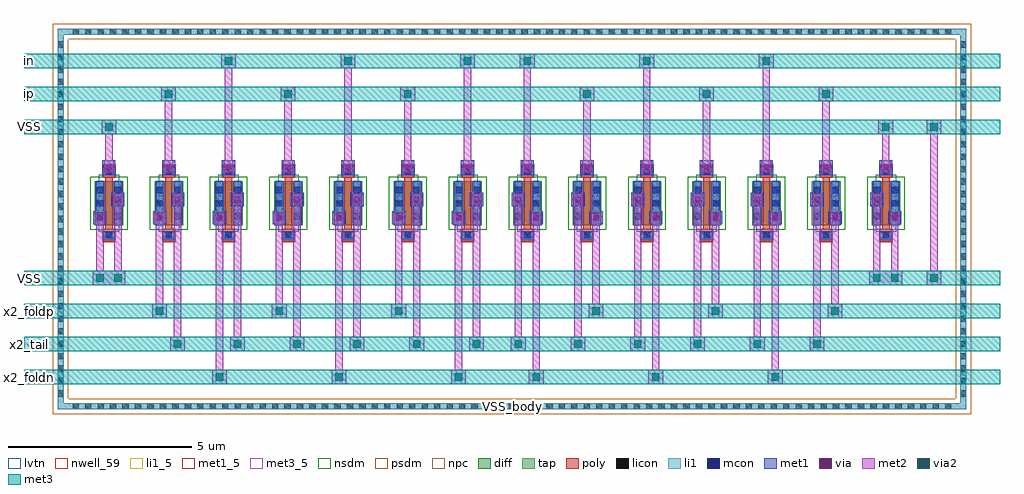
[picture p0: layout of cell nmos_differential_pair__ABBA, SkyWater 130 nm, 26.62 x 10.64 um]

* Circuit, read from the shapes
.subckt nmos_differential_pair__ABBA VSS VSS_body in ip x2_foldn x2_foldp x2_tail
XM1 VSS VSS VSS VSS_body sky130_fd_pr__nfet_01v8_lvt w=1.2 l=0.2 m=2
XM2 x2_tail ip x2_foldp VSS_body sky130_fd_pr__nfet_01v8_lvt w=1.2 l=0.2 m=6
XM3 x2_tail in x2_foldn VSS_body sky130_fd_pr__nfet_01v8_lvt w=1.2 l=0.2 m=6
.ends

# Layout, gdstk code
from math import pi, radians
import gdstk
lib = gdstk.Library(unit=1e-6, precision=1e-09)
def R(c, l, rs):  # rectangles x0, y0, x1, y1
    for r in rs: c.add(gdstk.rectangle(r[:2], r[2:], *l))
def A(c, l, x, y, w, h, nx, ny, dx, dy):  # array of equal rectangles
    R(c, l, [(x+i*dx, y+j*dy, x+i*dx+w, y+j*dy+h) for i in range(nx) for j in range(ny)])
nwell_59 = (64, 59)
diff = (65, 20)
tap = (65, 44)
poly = (66, 20)
licon = (66, 44)
li1_5 = (67, 5)
li1 = (67, 20)
mcon = (67, 44)
met1_5 = (68, 5)
met1 = (68, 20)
via = (68, 44)
met2 = (69, 20)
via2 = (69, 44)
met3_5 = (70, 5)
met3 = (70, 20)
nsdm = (93, 44)
psdm = (94, 20)
npc = (95, 20)
lvtn = (125, 44)

sky130_fd_pr__nfet_01v8_ = lib.new_cell('sky130_fd_pr__nfet_01v8_lvt_A2K2V3')
R(sky130_fd_pr__nfet_01v8_, diff, [(-0.39,-0.6,0.39,0.6)])
R(sky130_fd_pr__nfet_01v8_, poly, [(-0.165,-1.04,0.165,-0.71), (-0.1,-0.71,0.1,0.71), (-0.165,0.71,0.165,1.04)])
A(sky130_fd_pr__nfet_01v8_, licon, -0.33, -0.425, 0.17, 0.17, 1, 3, 0, 0.34)
A(sky130_fd_pr__nfet_01v8_, licon, 0.16, -0.425, 0.17, 0.17, 1, 3, 0, 0.34)
R(sky130_fd_pr__nfet_01v8_, licon, [(-0.085,-0.96,0.085,-0.79), (-0.085,0.79,0.085,0.96)])
R(sky130_fd_pr__nfet_01v8_, li1, [(-0.165,-0.96,0.165,-0.79), (-0.33,-0.62,-0.16,0.62), (0.16,-0.62,0.33,0.62), (-0.165,0.79,0.165,0.96)])
A(sky130_fd_pr__nfet_01v8_, mcon, -0.33, -0.445, 0.17, 0.17, 1, 3, 0, 0.36)
A(sky130_fd_pr__nfet_01v8_, mcon, 0.16, -0.445, 0.17, 0.17, 1, 3, 0, 0.36)
R(sky130_fd_pr__nfet_01v8_, mcon, [(-0.085,-0.96,0.085,-0.79), (-0.085,0.79,0.085,0.96)])
R(sky130_fd_pr__nfet_01v8_, met1, [(-0.145,-0.99,0.145,-0.76), (-0.36,-0.6,-0.13,0.6), (0.13,-0.6,0.36,0.6), (-0.145,0.76,0.145,0.99)])
R(sky130_fd_pr__nfet_01v8_, nsdm, [(-0.515,-0.725,0.515,0.725)])
R(sky130_fd_pr__nfet_01v8_, npc, [(-0.185,-1.06,0.185,-0.69), (-0.185,0.69,0.185,1.06)])
R(sky130_fd_pr__nfet_01v8_, lvtn, [(-0.28,-0.78,0.28,0.78)])
sky130_fd_pr__nfet_01v8_.add(gdstk.Label('D', (-0.245,0), layer=67, texttype=5))
sky130_fd_pr__nfet_01v8_.add(gdstk.Label('S', (0.245,0), layer=67, texttype=5))
sky130_fd_pr__nfet_01v8_.add(gdstk.Label('G', (0,0.875), layer=67, texttype=5))

nfet_01v8_lvt_w1p2_l0p2_ = lib.new_cell('nfet_01v8_lvt_W1p2_L0p2_m6__nf1_gboth_sdfull_ng')
R(nfet_01v8_lvt_w1p2_l0p2_, nwell_59, [(0.05,0.99,0.15,1.09)])
R(nfet_01v8_lvt_w1p2_l0p2_, met1_5, [(0.03,1.04,0.26,1.24), (0.52,1.04,0.75,1.24), (0.205,1.8,0.575,2.03)])
R(nfet_01v8_lvt_w1p2_l0p2_, met1, [(0.205,0.05,0.575,0.28), (0.03,1.04,0.26,1.24), (0.52,1.04,0.75,1.24), (0.205,1.8,0.575,2.03)])
nfet_01v8_lvt_w1p2_l0p2_.add(gdstk.Reference(sky130_fd_pr__nfet_01v8_, (0.39,1.04)))
nfet_01v8_lvt_w1p2_l0p2_.add(gdstk.Label('D', (0.145,1.14), layer=68, texttype=5))
nfet_01v8_lvt_w1p2_l0p2_.add(gdstk.Label('S', (0.635,1.14), layer=68, texttype=5))
nfet_01v8_lvt_w1p2_l0p2_.add(gdstk.Label('G', (0.39,1.915), layer=68, texttype=5))
nfet_01v8_lvt_w1p2_l0p2_.add(gdstk.Label('B', (0.1,1.04), layer=64, texttype=59))

nmos_differential_pair__ = lib.new_cell('nmos_differential_pair__ABBA')
R(nmos_differential_pair__, tap, [(-0.885,-4.585,23.905,-4.415), (-0.885,-4.415,-0.715,5.635), (23.735,-4.415,23.905,5.635), (-0.885,5.635,23.905,5.805)])
A(nmos_differential_pair__, licon, -0.475, -4.585, 0.17, 0.17, 71, 2, 0.34, 10.22)
A(nmos_differential_pair__, licon, -0.885, -4.235, 0.17, 0.17, 1, 29, 0, 0.34)
A(nmos_differential_pair__, licon, 23.735, -4.235, 0.17, 0.17, 1, 29, 0, 0.34)
R(nmos_differential_pair__, li1_5, [(11.46,-4.55,11.56,-4.45)])
R(nmos_differential_pair__, li1, [(-0.885,-4.585,23.905,-4.415), (-0.885,-4.415,-0.715,5.635), (23.735,-4.415,23.905,5.635), (-0.885,5.635,23.905,5.805)])
A(nmos_differential_pair__, met1, 0.09, 0.46, 0.36, 0.36, 7, 1, 1.63, 0)
A(nmos_differential_pair__, met1, 11.99, 0.46, 0.36, 0.36, 7, 1, 1.63, 0)
A(nmos_differential_pair__, met1, 0.58, 0.96, 0.36, 0.36, 7, 1, 1.63, 0)
A(nmos_differential_pair__, met1, 11.5, 0.96, 0.36, 0.36, 7, 1, 1.63, 0)
A(nmos_differential_pair__, met1, 0.335, 1.85, 0.36, 0.36, 14, 1, 1.63, 0)
A(nmos_differential_pair__, via, 0.195, 0.565, 0.15, 0.15, 7, 1, 1.63, 0)
A(nmos_differential_pair__, via, 12.095, 0.565, 0.15, 0.15, 7, 1, 1.63, 0)
A(nmos_differential_pair__, via, 0.685, 1.065, 0.15, 0.15, 7, 1, 1.63, 0)
A(nmos_differential_pair__, via, 11.605, 1.065, 0.15, 0.15, 7, 1, 1.63, 0)
A(nmos_differential_pair__, via, 0.44, 1.955, 0.15, 0.15, 14, 1, 1.63, 0)
A(nmos_differential_pair__, met2, 3.33, -3.9, 0.4, 0.4, 3, 1, 3.26, 0)
A(nmos_differential_pair__, met2, 11.97, -3.9, 0.4, 0.4, 3, 1, 3.26, 0)
A(nmos_differential_pair__, met2, 3.43, -3.5, 0.2, 3.98, 3, 1, 3.26, 0)
A(nmos_differential_pair__, met2, 12.07, -3.5, 0.2, 3.98, 3, 1, 3.26, 0)
A(nmos_differential_pair__, met2, 2.19, -3, 0.4, 0.4, 6, 1, 1.63, 0)
A(nmos_differential_pair__, met2, 11.48, -3, 0.4, 0.4, 6, 1, 1.63, 0)
A(nmos_differential_pair__, met2, 2.29, -2.6, 0.2, 3.58, 6, 1, 1.63, 0)
A(nmos_differential_pair__, met2, 11.58, -2.6, 0.2, 3.58, 6, 1, 1.63, 0)
A(nmos_differential_pair__, met2, 1.7, -2.1, 0.4, 0.4, 3, 1, 3.26, 0)
A(nmos_differential_pair__, met2, 13.6, -2.1, 0.4, 0.4, 3, 1, 3.26, 0)
A(nmos_differential_pair__, met2, 1.8, -1.7, 0.2, 2.18, 3, 1, 3.26, 0)
A(nmos_differential_pair__, met2, 13.7, -1.7, 0.2, 2.18, 3, 1, 3.26, 0)
A(nmos_differential_pair__, met2, 0.14, 0.48, 0.26, 0.32, 7, 1, 1.63, 0)
A(nmos_differential_pair__, met2, 12.04, 0.48, 0.26, 0.32, 7, 1, 1.63, 0)
A(nmos_differential_pair__, met2, 0.63, 0.98, 0.26, 0.32, 7, 1, 1.63, 0)
A(nmos_differential_pair__, met2, 11.55, 0.98, 0.26, 0.32, 7, 1, 1.63, 0)
A(nmos_differential_pair__, met2, 0.385, 1.87, 0.26, 0.32, 14, 1, 1.63, 0)
A(nmos_differential_pair__, met2, 2.045, 2.19, 0.2, 1.63, 3, 1, 3.26, 0)
A(nmos_differential_pair__, met2, 3.675, 2.19, 0.2, 2.53, 3, 1, 3.26, 0)
A(nmos_differential_pair__, met2, 11.825, 2.19, 0.2, 2.53, 3, 1, 3.26, 0)
A(nmos_differential_pair__, met2, 13.455, 2.19, 0.2, 1.63, 3, 1, 3.26, 0)
A(nmos_differential_pair__, met2, 1.945, 3.82, 0.4, 0.4, 3, 1, 3.26, 0)
A(nmos_differential_pair__, met2, 13.355, 3.82, 0.4, 0.4, 3, 1, 3.26, 0)
A(nmos_differential_pair__, met2, 3.575, 4.72, 0.4, 0.4, 3, 1, 3.26, 0)
A(nmos_differential_pair__, met2, 11.725, 4.72, 0.4, 0.4, 3, 1, 3.26, 0)
R(nmos_differential_pair__, met2, [(0.07,-1.2,0.96,-0.8), (21.26,-1.2,22.15,-0.8), (22.82,-1.2,23.22,-0.8), (0.17,-0.8,0.37,0.48), (0.66,-0.8,0.86,0.98), (21.36,-0.8,21.56,0.98), (21.85,-0.8,22.05,0.48), (22.92,-0.8,23.12,2.92), (0.415,2.19,0.615,2.92), (21.605,2.19,21.805,2.92), (0.315,2.92,0.715,3.32), (21.505,2.92,21.905,3.32), (22.82,2.92,23.22,3.32)])
A(nmos_differential_pair__, via2, 3.43, -3.8, 0.2, 0.2, 3, 1, 3.26, 0)
A(nmos_differential_pair__, via2, 12.07, -3.8, 0.2, 0.2, 3, 1, 3.26, 0)
A(nmos_differential_pair__, via2, 2.29, -2.9, 0.2, 0.2, 6, 1, 1.63, 0)
A(nmos_differential_pair__, via2, 11.58, -2.9, 0.2, 0.2, 6, 1, 1.63, 0)
A(nmos_differential_pair__, via2, 1.8, -2, 0.2, 0.2, 3, 1, 3.26, 0)
A(nmos_differential_pair__, via2, 13.7, -2, 0.2, 0.2, 3, 1, 3.26, 0)
A(nmos_differential_pair__, via2, 2.045, 3.92, 0.2, 0.2, 3, 1, 3.26, 0)
A(nmos_differential_pair__, via2, 13.455, 3.92, 0.2, 0.2, 3, 1, 3.26, 0)
A(nmos_differential_pair__, via2, 3.675, 4.82, 0.2, 0.2, 3, 1, 3.26, 0)
A(nmos_differential_pair__, via2, 11.825, 4.82, 0.2, 0.2, 3, 1, 3.26, 0)
R(nmos_differential_pair__, via2, [(0.17,-1.1,0.37,-0.9), (0.66,-1.1,0.86,-0.9), (21.36,-1.1,21.56,-0.9), (21.85,-1.1,22.05,-0.9), (22.92,-1.1,23.12,-0.9), (0.415,3.02,0.615,3.22), (21.605,3.02,21.805,3.22), (22.92,3.02,23.12,3.22)])
A(nmos_differential_pair__, met3_5, -1.7, -3.75, 0.1, 0.1, 1, 4, 0, 0.9)
A(nmos_differential_pair__, met3_5, -1.7, 3.07, 0.1, 0.1, 1, 3, 0, 0.9)
A(nmos_differential_pair__, met3, -1.8, -3.9, 26.62, 0.4, 1, 4, 0, 0.9)
A(nmos_differential_pair__, met3, -1.8, 2.92, 26.62, 0.4, 1, 3, 0, 0.9)
R(nmos_differential_pair__, psdm, [(-1.01,-4.71,24.03,-4.29), (-1.01,-4.29,-0.59,5.51), (23.61,-4.29,24.03,5.51), (-1.01,5.51,24.03,5.93)])
nmos_differential_pair__.add(gdstk.Reference(nfet_01v8_lvt_w1p2_l0p2_, (22.1,0), rotation=pi, x_reflection=True))
nmos_differential_pair__.add(gdstk.Reference(nfet_01v8_lvt_w1p2_l0p2_, (20.47,0), rotation=pi, x_reflection=True))
nmos_differential_pair__.add(gdstk.Reference(nfet_01v8_lvt_w1p2_l0p2_, (18.84,0), rotation=pi, x_reflection=True))
nmos_differential_pair__.add(gdstk.Reference(nfet_01v8_lvt_w1p2_l0p2_, (17.21,0), rotation=pi, x_reflection=True))
nmos_differential_pair__.add(gdstk.Reference(nfet_01v8_lvt_w1p2_l0p2_, (15.58,0), rotation=pi, x_reflection=True))
nmos_differential_pair__.add(gdstk.Reference(nfet_01v8_lvt_w1p2_l0p2_, (13.95,0), rotation=pi, x_reflection=True))
nmos_differential_pair__.add(gdstk.Reference(nfet_01v8_lvt_w1p2_l0p2_, (12.32,0), rotation=pi, x_reflection=True))
nmos_differential_pair__.add(gdstk.Reference(nfet_01v8_lvt_w1p2_l0p2_, (9.91,0)))
nmos_differential_pair__.add(gdstk.Reference(nfet_01v8_lvt_w1p2_l0p2_, (8.28,0)))
nmos_differential_pair__.add(gdstk.Reference(nfet_01v8_lvt_w1p2_l0p2_, (6.65,0)))
nmos_differential_pair__.add(gdstk.Reference(nfet_01v8_lvt_w1p2_l0p2_, (5.02,0)))
nmos_differential_pair__.add(gdstk.Reference(nfet_01v8_lvt_w1p2_l0p2_, (3.39,0)))
nmos_differential_pair__.add(gdstk.Reference(nfet_01v8_lvt_w1p2_l0p2_, (1.76,0)))
nmos_differential_pair__.add(gdstk.Reference(nfet_01v8_lvt_w1p2_l0p2_, (0.13,0)))
nmos_differential_pair__.add(gdstk.Label('VSS', (-1.65,3.12), layer=70, texttype=5))
nmos_differential_pair__.add(gdstk.Label('ip', (-1.65,4.02), layer=70, texttype=5))
nmos_differential_pair__.add(gdstk.Label('in', (-1.65,4.92), layer=70, texttype=5))
nmos_differential_pair__.add(gdstk.Label('VSS', (-1.65,-1), layer=70, texttype=5))
nmos_differential_pair__.add(gdstk.Label('x2_foldp', (-1.65,-1.9), layer=70, texttype=5))
nmos_differential_pair__.add(gdstk.Label('x2_tail', (-1.65,-2.8), layer=70, texttype=5))
nmos_differential_pair__.add(gdstk.Label('x2_foldn', (-1.65,-3.7), layer=70, texttype=5))
nmos_differential_pair__.add(gdstk.Label('VSS_body', (11.51,-4.5), layer=67, texttype=5))

lib.write_gds('nmos_differential_pair__ABBA.gds')
